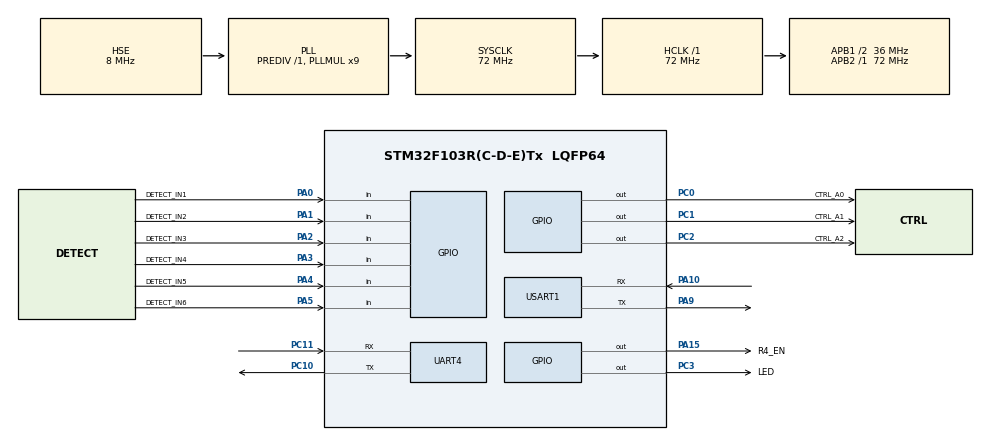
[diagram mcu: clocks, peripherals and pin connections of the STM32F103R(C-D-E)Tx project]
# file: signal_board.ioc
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Dma.Request0=UART4_RX
Dma.UART4_RX.0.Direction=DMA_PERIPH_TO_MEMORY
Dma.UART4_RX.0.Instance=DMA2_Channel3
Dma.UART4_RX.0.MemDataAlignment=DMA_MDATAALIGN_BYTE
Dma.UART4_RX.0.MemInc=DMA_MINC_ENABLE
Dma.UART4_RX.0.Mode=DMA_NORMAL
Dma.UART4_RX.0.PeriphDataAlignment=DMA_PDATAALIGN_BYTE
Dma.UART4_RX.0.PeriphInc=DMA_PINC_DISABLE
Dma.UART4_RX.0.Priority=DMA_PRIORITY_LOW
IWDG.Prescaler=IWDG_PRESCALER_64
IWDG.Reload=1000
Mcu.Family=STM32F1
Mcu.Name=STM32F103R(C-D-E)Tx
Mcu.Package=LQFP64
NVIC.DMA2_Channel3_IRQn=true\:0\:0\:false\:false\:true\:false\:true\:true
NVIC.PriorityGroup=NVIC_PRIORITYGROUP_4
NVIC.UART4_IRQn=true\:0\:0\:false\:false\:true\:true\:true\:true
NVIC.USART1_IRQn=true\:0\:0\:false\:false\:true\:true\:true\:true
PA0-WKUP.GPIO_Label=DETECT_IN1
PA0-WKUP.Signal=GPIO_Input
PA1.GPIO_Label=DETECT_IN2
PA1.Signal=GPIO_Input
PA10.Mode=Asynchronous
PA10.Signal=USART1_RX
PA13.Mode=Serial_Wire
PA13.Signal=SYS_JTMS-SWDIO
PA14.Mode=Serial_Wire
PA14.Signal=SYS_JTCK-SWCLK
PA15.GPIO_Label=R4_EN
PA15.Signal=GPIO_Output
PA2.GPIO_Label=DETECT_IN3
PA2.Signal=GPIO_Input
PA3.GPIO_Label=DETECT_IN4
PA3.Signal=GPIO_Input
PA4.GPIO_Label=DETECT_IN5
PA4.Signal=GPIO_Input
PA5.GPIO_Label=DETECT_IN6
PA5.Signal=GPIO_Input
PA9.Mode=Asynchronous
PA9.Signal=USART1_TX
PC0.GPIO_Label=CTRL_A0
PC0.Signal=GPIO_Output
PC1.GPIO_Label=CTRL_A1
PC1.Signal=GPIO_Output
PC10.Mode=Asynchronous
PC10.Signal=UART4_TX
PC11.Mode=Asynchronous
PC11.Signal=UART4_RX
PC2.GPIO_Label=CTRL_A2
PC2.Signal=GPIO_Output
PC3.GPIO_Label=LED
PC3.GPIO_PuPd=GPIO_PULLUP
PC3.Signal=GPIO_Output
PD0-OSC_IN.Mode=HSE-External-Oscillator
PD0-OSC_IN.Signal=RCC_OSC_IN
PD1-OSC_OUT.Mode=HSE-External-Oscillator
PD1-OSC_OUT.Signal=RCC_OSC_OUT
ProjectManager.HeapSize=0x200
ProjectManager.StackSize=0x400
ProjectManager.TargetToolchain=Makefile
RCC.AHBFreq_Value=72000000
RCC.APB1CLKDivider=RCC_HCLK_DIV2
RCC.APB1Freq_Value=36000000
RCC.APB1TimFreq_Value=72000000
RCC.APB2Freq_Value=72000000
RCC.APB2TimFreq_Value=72000000
RCC.HCLKFreq_Value=72000000
RCC.PLLMUL=RCC_PLL_MUL9
RCC.PLLSourceVirtual=RCC_PLLSOURCE_HSE
RCC.SYSCLKFreq_VALUE=72000000
RCC.SYSCLKSource=RCC_SYSCLKSOURCE_PLLCLK
RCC.USBFreq_Value=72000000
UART4.VirtualMode=Asynchronous
USART1.VirtualMode=VM_ASYNC
VP_IWDG_VS_IWDG.Mode=IWDG_Activate
board=custom

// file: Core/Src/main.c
/* USER CODE BEGIN Header */
/**
  ******************************************************************************
  * @file           : main.c
  * @brief          : Main program body
  ******************************************************************************
  * @attention
  *
  * Copyright (c) 2024 STMicroelectronics.
  * All rights reserved.
  *
  * This software is licensed under terms that can be found in the LICENSE file
  * in the root directory of this software component.
  * If no LICENSE file comes with this software, it is provided AS-IS.
  *
  ******************************************************************************
  */
/* USER CODE END Header */
#include "main.h"
#include "dma.h"
#include "iwdg.h"
#include "usart.h"
#include "gpio.h"

/* USER CODE BEGIN Includes */
#include "CD4051BM_driver.h"
/* USER CODE END Includes */

/* USER CODE BEGIN PTD */
#define ID 1
/* USER CODE END PTD */

void SystemClock_Config(void);

/* USER CODE BEGIN 0 */
void send_data_to_uart(char *data, uint8_t len)
{
  HAL_GPIO_WritePin(R4_EN_GPIO_Port, R4_EN_Pin, GPIO_PIN_SET);
	HAL_UART_Transmit(&huart4, (uint8_t *)data, len, 1000);
  HAL_GPIO_WritePin(R4_EN_GPIO_Port, R4_EN_Pin, GPIO_PIN_RESET);
}

void mbus_pack(uint8_t *buf, uint8_t addr, uint8_t cmd, uint8_t len, uint8_t *data) {
    uint8_t i, sum = 0;
    buf[0] = addr;
    buf[1] = cmd;
    buf[2] = len;
    for (i = 0; i < len; i++) {
        buf[3 + i] = data[i];
    }
    for (i = 0; i < len + 3; i++) {
        sum += buf[i];
    }
    buf[len + 3] = sum; // 校验�?
}

// void package_data(uint8_t *buff, uint8_t *data, uint8_t len)
// {

//   CD4051BM_scan();

//   uint8_t data[16] = {0};
//   for (int i = 0; i < 6; i++)
//   {
//     get_CD4051BM_state(&data[i+3], i);
//   }
//   uint8_t sum = 0;
//   for (int i = 0; i < 9; i++)
//   {
//     sum += data[i];
//   }
//   data[9] = sum;
//   send_data_to_uart(data, 10);
// }

static void deal_rx_data(uint8_t *buff,uint16_t len)
{
  // 从机地址 | 命令�???   | 数据长度 | 数据 | 校验�???
  if(buff[0] != ID)
  {
    return;
  }

  // 校验
  uint8_t sum = 0;
  for(int i=0;i<len-1;i++)
  {
    sum += buff[i];
  }
  if(sum != buff[len-1])
  {
    return;
  }

  // 命令
  if(buff[1] == 0x01)
  {
    CD4051BM_scan();

    uint8_t data[6] = {0};
    for (int i = 0; i < 6; i++)
    {
      get_CD4051BM_state(&data[i], i);
    }
    uint8_t buf[20] = {0};
    mbus_pack(buf, ID, 0x01, 6, data);
    send_data_to_uart(buf, 10);
  }
}
/* USER CODE END 0 */

int main(void)
{

  /* MCU Configuration--------------------------------------------------------*/

  /* Reset of all peripherals, Initializes the Flash interface and the Systick. */
  HAL_Init();

  /* Configure the system clock */
  SystemClock_Config();

  /* Initialize all configured peripherals */
  MX_GPIO_Init();
  MX_DMA_Init();
  MX_IWDG_Init();
  MX_UART4_Init();
  MX_USART1_UART_Init();
  /* USER CODE BEGIN 2 */
  HAL_GPIO_WritePin(R4_EN_GPIO_Port, R4_EN_Pin, GPIO_PIN_RESET);
  /* USER CODE END 2 */

  /* Infinite loop */
  /* USER CODE BEGIN WHILE */
  static int led_tick = 0;
  while (1)
  {
    //CD4051BM_scan();
    if(rx_flag == 1)
    {
      deal_rx_data(rx_buff, rx_len);
      memset(rx_buff,0,100);
      rx_flag = 0;
      // 重新启动接收
      HAL_UART_Receive_DMA(&huart4, rx_buff, 100);
    }
    /* USER CODE END WHILE */

    /* USER CODE BEGIN 3 */
    HAL_IWDG_Refresh(&hiwdg);
    // led_tick++;
    // if (led_tick % 5 == 0)
    // {
    //   HAL_GPIO_TogglePin(LED_GPIO_Port, LED_Pin);
    // }
    //HAL_Delay(10);
  }
  /* USER CODE END 3 */
}

void SystemClock_Config(void)
{
  RCC_OscInitTypeDef RCC_OscInitStruct = {0};
  RCC_ClkInitTypeDef RCC_ClkInitStruct = {0};

  /** Initializes the RCC Oscillators according to the specified parameters
  * in the RCC_OscInitTypeDef structure.
  */
  RCC_OscInitStruct.OscillatorType = RCC_OSCILLATORTYPE_LSI|RCC_OSCILLATORTYPE_HSE;
  RCC_OscInitStruct.HSEState = RCC_HSE_ON;
  RCC_OscInitStruct.HSEPredivValue = RCC_HSE_PREDIV_DIV1;
  RCC_OscInitStruct.HSIState = RCC_HSI_ON;
  RCC_OscInitStruct.LSIState = RCC_LSI_ON;
  RCC_OscInitStruct.PLL.PLLState = RCC_PLL_ON;
  RCC_OscInitStruct.PLL.PLLSource = RCC_PLLSOURCE_HSE;
  RCC_OscInitStruct.PLL.PLLMUL = RCC_PLL_MUL9;
  if (HAL_RCC_OscConfig(&RCC_OscInitStruct) != HAL_OK)
  {
    Error_Handler();
  }

  /** Initializes the CPU, AHB and APB buses clocks
  */
  RCC_ClkInitStruct.ClockType = RCC_CLOCKTYPE_HCLK|RCC_CLOCKTYPE_SYSCLK
                              |RCC_CLOCKTYPE_PCLK1|RCC_CLOCKTYPE_PCLK2;
  RCC_ClkInitStruct.SYSCLKSource = RCC_SYSCLKSOURCE_PLLCLK;
  RCC_ClkInitStruct.AHBCLKDivider = RCC_SYSCLK_DIV1;
  RCC_ClkInitStruct.APB1CLKDivider = RCC_HCLK_DIV2;
  RCC_ClkInitStruct.APB2CLKDivider = RCC_HCLK_DIV1;

  if (HAL_RCC_ClockConfig(&RCC_ClkInitStruct, FLASH_LATENCY_2) != HAL_OK)
  {
    Error_Handler();
  }
}

void Error_Handler(void)
{
  __disable_irq();
  while (1)
  {
  }
}
